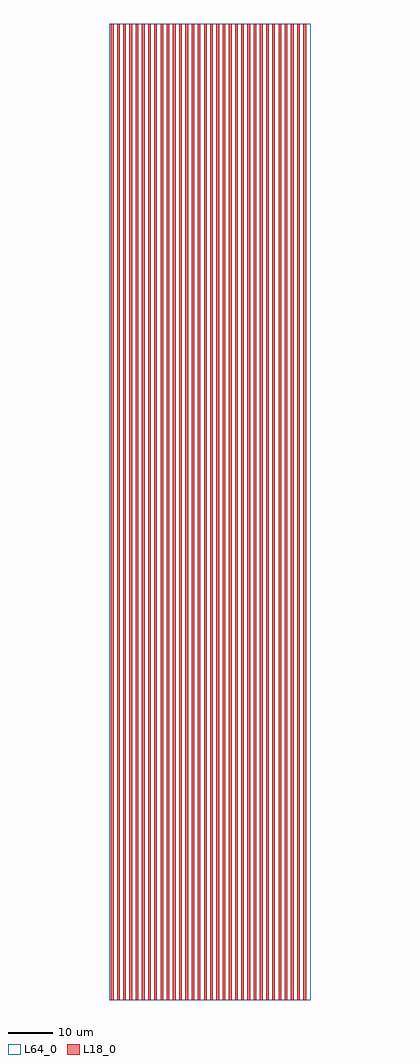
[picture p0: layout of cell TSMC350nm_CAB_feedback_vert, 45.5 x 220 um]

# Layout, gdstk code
import gdstk
lib = gdstk.Library(unit=1e-6, precision=1e-09)
def R(c, l, rs):  # rectangles x0, y0, x1, y1
    for r in rs: c.add(gdstk.rectangle(r[:2], r[2:], *l))
L18_0 = (18, 0)
L64_0 = (64, 0)

tsmc350nm_cab_feedback_v = lib.new_cell('TSMC350nm_CAB_feedback_vert')
R(tsmc350nm_cab_feedback_v, L64_0, [(0,0,45.5,220)])
tsmc350nm_cab_feedback_v.add(gdstk.FlexPath([(44.1,220),(44.1,0)], 0.6, ends="flush", simple_path=True, layer=18, datatype=0))  # L18_0
tsmc350nm_cab_feedback_v.add(gdstk.FlexPath([(42.7,220),(42.7,0)], 0.6, ends="flush", simple_path=True, layer=18, datatype=0))  # L18_0
tsmc350nm_cab_feedback_v.add(gdstk.FlexPath([(41.3,220),(41.3,0)], 0.6, ends="flush", simple_path=True, layer=18, datatype=0))  # L18_0
tsmc350nm_cab_feedback_v.add(gdstk.FlexPath([(39.9,220),(39.9,0)], 0.6, ends="flush", simple_path=True, layer=18, datatype=0))  # L18_0
tsmc350nm_cab_feedback_v.add(gdstk.FlexPath([(38.5,220),(38.5,0)], 0.6, ends="flush", simple_path=True, layer=18, datatype=0))  # L18_0
tsmc350nm_cab_feedback_v.add(gdstk.FlexPath([(37.1,220),(37.1,0)], 0.6, ends="flush", simple_path=True, layer=18, datatype=0))  # L18_0
tsmc350nm_cab_feedback_v.add(gdstk.FlexPath([(35.7,220),(35.7,0)], 0.6, ends="flush", simple_path=True, layer=18, datatype=0))  # L18_0
tsmc350nm_cab_feedback_v.add(gdstk.FlexPath([(34.3,220),(34.3,0)], 0.6, ends="flush", simple_path=True, layer=18, datatype=0))  # L18_0
tsmc350nm_cab_feedback_v.add(gdstk.FlexPath([(32.9,220),(32.9,0)], 0.6, ends="flush", simple_path=True, layer=18, datatype=0))  # L18_0
tsmc350nm_cab_feedback_v.add(gdstk.FlexPath([(31.5,220),(31.5,0)], 0.6, ends="flush", simple_path=True, layer=18, datatype=0))  # L18_0
tsmc350nm_cab_feedback_v.add(gdstk.FlexPath([(30.1,220),(30.1,0)], 0.6, ends="flush", simple_path=True, layer=18, datatype=0))  # L18_0
tsmc350nm_cab_feedback_v.add(gdstk.FlexPath([(28.7,220),(28.7,0)], 0.6, ends="flush", simple_path=True, layer=18, datatype=0))  # L18_0
tsmc350nm_cab_feedback_v.add(gdstk.FlexPath([(27.3,220),(27.3,0)], 0.6, ends="flush", simple_path=True, layer=18, datatype=0))  # L18_0
tsmc350nm_cab_feedback_v.add(gdstk.FlexPath([(25.9,220),(25.9,0)], 0.6, ends="flush", simple_path=True, layer=18, datatype=0))  # L18_0
tsmc350nm_cab_feedback_v.add(gdstk.FlexPath([(24.5,220),(24.5,0)], 0.6, ends="flush", simple_path=True, layer=18, datatype=0))  # L18_0
tsmc350nm_cab_feedback_v.add(gdstk.FlexPath([(23.1,220),(23.1,0)], 0.6, ends="flush", simple_path=True, layer=18, datatype=0))  # L18_0
tsmc350nm_cab_feedback_v.add(gdstk.FlexPath([(21.7,220),(21.7,0)], 0.6, ends="flush", simple_path=True, layer=18, datatype=0))  # L18_0
tsmc350nm_cab_feedback_v.add(gdstk.FlexPath([(20.3,220),(20.3,0)], 0.6, ends="flush", simple_path=True, layer=18, datatype=0))  # L18_0
tsmc350nm_cab_feedback_v.add(gdstk.FlexPath([(18.9,220),(18.9,0)], 0.6, ends="flush", simple_path=True, layer=18, datatype=0))  # L18_0
tsmc350nm_cab_feedback_v.add(gdstk.FlexPath([(17.5,220),(17.5,0)], 0.6, ends="flush", simple_path=True, layer=18, datatype=0))  # L18_0
tsmc350nm_cab_feedback_v.add(gdstk.FlexPath([(16.1,220),(16.1,0)], 0.6, ends="flush", simple_path=True, layer=18, datatype=0))  # L18_0
tsmc350nm_cab_feedback_v.add(gdstk.FlexPath([(14.7,220),(14.7,0)], 0.6, ends="flush", simple_path=True, layer=18, datatype=0))  # L18_0
tsmc350nm_cab_feedback_v.add(gdstk.FlexPath([(13.3,220),(13.3,0)], 0.6, ends="flush", simple_path=True, layer=18, datatype=0))  # L18_0
tsmc350nm_cab_feedback_v.add(gdstk.FlexPath([(11.9,220),(11.9,0)], 0.6, ends="flush", simple_path=True, layer=18, datatype=0))  # L18_0
tsmc350nm_cab_feedback_v.add(gdstk.FlexPath([(10.5,220),(10.5,0)], 0.6, ends="flush", simple_path=True, layer=18, datatype=0))  # L18_0
tsmc350nm_cab_feedback_v.add(gdstk.FlexPath([(9.1,220),(9.1,0)], 0.6, ends="flush", simple_path=True, layer=18, datatype=0))  # L18_0
tsmc350nm_cab_feedback_v.add(gdstk.FlexPath([(7.7,220),(7.7,0)], 0.6, ends="flush", simple_path=True, layer=18, datatype=0))  # L18_0
tsmc350nm_cab_feedback_v.add(gdstk.FlexPath([(6.3,220),(6.3,0)], 0.6, ends="flush", simple_path=True, layer=18, datatype=0))  # L18_0
tsmc350nm_cab_feedback_v.add(gdstk.FlexPath([(4.9,220),(4.9,0)], 0.6, ends="flush", simple_path=True, layer=18, datatype=0))  # L18_0
tsmc350nm_cab_feedback_v.add(gdstk.FlexPath([(3.5,220),(3.5,0)], 0.6, ends="flush", simple_path=True, layer=18, datatype=0))  # L18_0
tsmc350nm_cab_feedback_v.add(gdstk.FlexPath([(2.1,220),(2.1,0)], 0.6, ends="flush", simple_path=True, layer=18, datatype=0))  # L18_0
tsmc350nm_cab_feedback_v.add(gdstk.FlexPath([(0.7,220),(0.7,0)], 0.6, ends="flush", simple_path=True, layer=18, datatype=0))  # L18_0

lib.write_gds('TSMC350nm_CAB_feedback_vert.gds')
